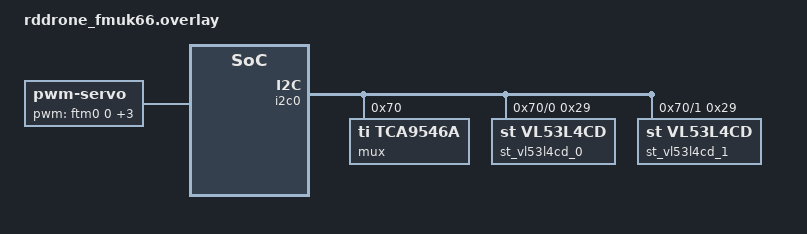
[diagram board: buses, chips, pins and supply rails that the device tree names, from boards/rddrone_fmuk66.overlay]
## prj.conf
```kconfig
CONFIG_STDOUT_CONSOLE=y
CONFIG_PRINTK=y
CONFIG_PWM=y

CONFIG_STDOUT_CONSOLE=y
CONFIG_I2C=y
CONFIG_GPIO=y
CONFIG_SENSOR=y

CONFIG_I2C_TCA954X=y
CONFIG_I2C_TCA954X_ROOT_INIT_PRIO=61
CONFIG_I2C_TCA954X_CHANNEL_INIT_PRIO=62

CONFIG_VL53L4CD_INTERRUPT_MODE=n
CONFIG_VL53L4CD_PROXIMITY_THRESHOLD=150
CONFIG_VL53L4CD_XSHUT=n
CONFIG_VL53L4CD_RECONFIGURE_ADDRESS=n

# symbols for debugging the application.
CONFIG_DEBUG=y
CONFIG_LOG=y
CONFIG_SENSOR_LOG_LEVEL_DBG=y
CONFIG_CBPRINTF_FP_SUPPORT=y

CONFIG_STDOUT_CONSOLE=y
```

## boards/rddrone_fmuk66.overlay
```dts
/* SPDX-License-Identifier: Apache-2.0 */

&i2c0 {
	status = "okay";
	pinctrl-0 = <&i2c0_default>;
	pinctrl-names = "default";

	mux: tca9546a@70 { /* Address depends on the hardware configuration. */
		compatible = "ti,tca9546a";
		reg = <0x70>;
		status = "okay";
		#address-cells = <1>;
		#size-cells = <0>;

		mux_i2c@0 {
			compatible = "ti,tca9546a-channel";
			reg = <0>;
			#address-cells = <1>;
			#size-cells = <0>;

			st_vl53l4cd_0: st_vl53l4cd_0@29 {
				compatible = "st,vl53l4cd";
				reg = <0x29>;
				status = "okay";
			};
		};

		mux_i2c@1 {
			compatible = "ti,tca9546a-channel";
			reg = <1>;
			#address-cells = <1>;
			#size-cells = <0>;

			st_vl53l4cd_1: st_vl53l4cd_1@29 {
				compatible = "st,vl53l4cd";
				reg = <0x29>;
				status = "okay";
			};
		};
	};
};

/ {
	servo: servo {
		compatible = "pwm-servo";
		pwms = <&ftm0 0 PWM_MSEC(20) PWM_POLARITY_NORMAL>, /* FMU_CH1 */
		       <&ftm0 3 PWM_MSEC(20) PWM_POLARITY_NORMAL>, /* FMU_CH2 */
		       <&ftm0 4 PWM_MSEC(20) PWM_POLARITY_NORMAL>, /* FMU_CH3 */
		       <&ftm0 5 PWM_MSEC(20) PWM_POLARITY_NORMAL>; /* FMU_CH4 */
		      /* <&ftm3 6 PWM_MSEC(20) PWM_POLARITY_NORMAL>, */ /* FMU_CH5 */
		      /* <&ftm3 7 PWM_MSEC(20) PWM_POLARITY_NORMAL>; */ /* FMU_CH6 */
		min-pulse = <PWM_USEC(700)>;
		max-pulse = <PWM_USEC(1400)>;
	};
};
```

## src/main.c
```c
/*
 * Copyright (c) 2016 Intel Corporation
 *
 * SPDX-License-Identifier: Apache-2.0
 */

/**
 * @file Sample app to demonstrate PWM-based servomotor control
 */

#include <zephyr/kernel.h>
#include <zephyr/sys/printk.h>
#include <zephyr/device.h>
#include <zephyr/drivers/pwm.h>

#include <zephyr/drivers/sensor.h>
#include <stdio.h>

static struct pwm_dt_spec servo = PWM_DT_SPEC_GET(DT_NODELABEL(servo));
static const uint32_t min_pulse = DT_PROP(DT_NODELABEL(servo), min_pulse);
static const uint32_t max_pulse = DT_PROP(DT_NODELABEL(servo), max_pulse);

#define VL53L4CD_SAMPLE_MEASUREMENT_DELAY_MS	1000

#define STEP PWM_USEC(100)

enum direction {
	DOWN,
	UP,
};

static double vl53l4cd_sample_data_and_display_data(const struct device *const sensor)
{
	int ret;
	struct sensor_value value;

	/* If interrupt mode is used, then we don't need to call sensor_sample_fetch. */
#ifndef CONFIG_VL53L4CD_INTERRUPT_MODE
	ret = sensor_sample_fetch(sensor);
	if (ret) {
		printk("[%s] sensor_sample_fetch failed. Returned %d.\n", sensor->name, ret);
		return ret;
	}
#endif

	ret = sensor_channel_get(sensor, SENSOR_CHAN_PROX, &value);
	if (ret) {
		printk("[%s] sensor_channel_get failed. Returned %d.\n", sensor->name, ret);
		return ret;
	}
	printk("[%s] proximity = %d\n", sensor->name, value.val1);

	ret = sensor_channel_get(sensor, SENSOR_CHAN_DISTANCE, &value);
	if (ret) {
		printk("[%s] sensor_channel_get failed. Returned %d.\n", sensor->name, ret);
		return ret;
	}
	printf("[%s] distance = %.3f m\n", sensor->name, sensor_value_to_double(&value));

	return sensor_value_to_double(&value);
}

int main(void)
{
	uint32_t pulse_width = min_pulse;
	enum direction dir = UP;
	int ret;

	printk("Servomotor control\n");

	if (!pwm_is_ready_dt(&servo)) {
		printk("Error: PWM device %s is not ready\n", servo.dev->name);
		return 0;
	}

	const struct device *const sensor_0 = DEVICE_DT_GET(DT_NODELABEL(st_vl53l4cd_0));
	const struct device *const sensor_1 = DEVICE_DT_GET(DT_NODELABEL(st_vl53l4cd_1));

	if (!device_is_ready(sensor_0) || !device_is_ready(sensor_1)) {
		printk("[%s, %s] sensor devices are not ready.\n", sensor_0->name, sensor_1->name);
		return -ENODEV;
	}

	/* If CONFIG_VL53L4CD_RECONFIGURE_ADDRESS=y, sensors are started at the first fetch. */
#ifdef CONFIG_VL53L4CD_RECONFIGURE_ADDRESS
	ret = sensor_sample_fetch(sensor_0) || sensor_sample_fetch(sensor_1);
	if (ret) {
		printk("[%s, %s] address reconfiguration failed. Returned %d.\n", sensor_0->name,
		       sensor_1->name, ret);
		return ret;
	}
#endif

	int i = 0;
	while (1) {
		servo.channel = 0;
		ret = pwm_set_pulse_dt(&servo, pulse_width);
		// servo.channel = 3;
		// ret = pwm_set_pulse_dt(&servo, pulse_width * 1.5);
		// servo.channel = 4;
		// ret = pwm_set_pulse_dt(&servo, pulse_width);
		servo.channel = 5;
		ret = pwm_set_pulse_dt(&servo, pulse_width * 1.2);
		if (i == 5) {
			break;
		}

		if (ret < 0) {
			printk("Error %d: failed to set pulse width\n", ret);
			return 0;
		}

		if (dir == DOWN) {
			if (pulse_width <= min_pulse) {
				dir = UP;
				pulse_width = min_pulse;
			} else {
				pulse_width -= STEP;
			}
		} else {
			pulse_width += STEP;

			if (pulse_width >= max_pulse) {
				dir = DOWN;
				pulse_width = max_pulse;
			}
		}
		++i;

		k_sleep(K_SECONDS(1));
	}

	k_sleep(K_SECONDS(4));

	bool kill = false;
	double dist = 0.0;

	while (1) {
		dist = vl53l4cd_sample_data_and_display_data(sensor_0);
		kill = (dist < 0.3 && dist > 0.01) ? false : true;
		servo.channel = 5;
		ret = (kill) ? pwm_set_pulse_dt(&servo, pulse_width * 1.1) : pwm_set_pulse_dt(&servo, min_pulse);

		dist = vl53l4cd_sample_data_and_display_data(sensor_1);
		kill = (dist < 0.3 && dist > 0.01) ? false : true;
		servo.channel = 0;
		ret = (kill) ? pwm_set_pulse_dt(&servo, pulse_width) : pwm_set_pulse_dt(&servo, min_pulse);
	}

	return 0;
}
```
